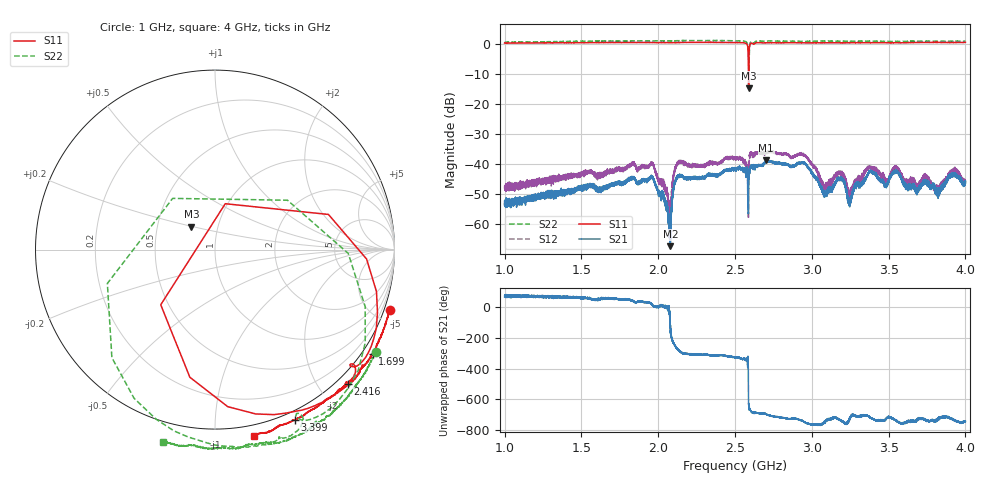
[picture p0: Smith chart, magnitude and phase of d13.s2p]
!Agilent Technologies,N5230C,SG49000117,A.08.50.07
!Agilent N5230C: A.08.50.07
!Date: Monday, May 20, 2024 21:02:08
!Correction: S11(Full 2 Port(1,2))
!S21(Full 2 Port(1,2))
!S12(Full 2 Port(1,2))
!S22(Full 2 Port(1,2))
!S2P File: Measurements: S11, S21, S12, S22:
# Hz S  MA  R 50
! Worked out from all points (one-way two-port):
!   20001 points, 1 GHz to 4 GHz, reference 50 ohm
!   highest |S21| = -38.72 dB at 2.702 GHz (marker M1); lowest = -67.2 dB at 2.079 GHz (marker M2)
!   lowest |S11| = -14.7 dB at 2.589 GHz (marker M3), VSWR 1.45, Z = 37.3 + j9.88 ohm
!   |S11| at or under -10 dB: 2.587814 GHz to 2.589487 GHz (1.673 MHz wide, 0.0646 % of centre)
!   |S22| runs from -9.0 to 1.1 dB; largest |S21 - S12| = 0.01
!   S11 on the Smith chart (normalised r, x): 1 GHz: -0.55, -5.91; 1.699 GHz: -0.31, -3.31; 2.416 GHz: -0.18, -2.38; 3.399 GHz: -0.08, -1.57; 4 GHz: -0.08, -1.23
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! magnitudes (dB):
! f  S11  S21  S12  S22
! 1 GHz  0.3  -53.3  -47.3  0.5
! 1.5 GHz  0.4  -47.5  -42.8  0.8
! 1.699 GHz  0.4  -46.9  -42.0  1.0
! 1.956 GHz  0.5  -44.3  -40.0  1.0
! 2 GHz  0.4  -49.7  -45.3  0.9
! 2.079 GHz  0.4  -67.2  -60.6  1.0
! 2.106 GHz  0.4  -46.5  -41.9  1.0
! 2.134 GHz  0.5  -43.5  -39.1  1.1
! 2.416 GHz  0.5  -42.7  -38.8  1.1
! 2.5 GHz  0.4  -41.5  -37.6  1.1
! 2.589 GHz  -14.7  -48.1  -49.7  -7.3
! 2.608 GHz  0.3  -40.5  -36.2  0.7
! 2.702 GHz  0.4  -38.7  -36.2  0.9
! 3 GHz  0.3  -42.9  -40.0  0.9
! 3.082 GHz  0.4  -50.3  -48.7  0.9
! 3.195 GHz  0.3  -44.8  -42.6  0.9
! 3.246 GHz  0.4  -51.9  -49.2  0.9
! 3.399 GHz  0.4  -42.6  -41.3  0.9
! 3.5 GHz  0.4  -45.7  -45.3  0.8
! 3.546 GHz  0.4  -42.8  -41.3  0.8
! 3.683 GHz  0.5  -48.5  -46.7  0.9
! 4 GHz  0.5  -45.6  -45.7  0.9
